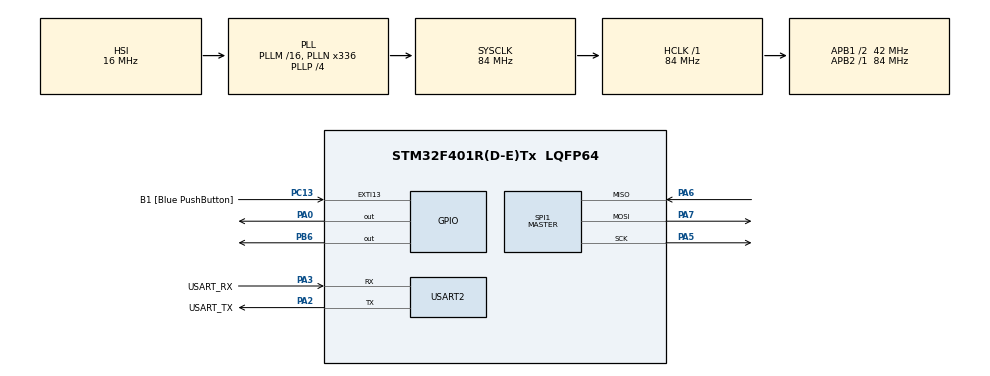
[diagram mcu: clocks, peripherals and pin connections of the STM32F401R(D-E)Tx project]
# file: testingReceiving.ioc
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Mcu.Family=STM32F4
Mcu.Name=STM32F401R(D-E)Tx
Mcu.Package=LQFP64
NVIC.PriorityGroup=NVIC_PRIORITYGROUP_4
PA0-WKUP.GPIO_PuPd=GPIO_PULLUP
PA0-WKUP.PinState=GPIO_PIN_SET
PA0-WKUP.Signal=GPIO_Output
PA13.GPIO_Label=TMS
PA13.Mode=Trace_Asynchronous_SW
PA13.Signal=SYS_JTMS-SWDIO
PA14.GPIO_Label=TCK
PA14.Mode=Trace_Asynchronous_SW
PA14.Signal=SYS_JTCK-SWCLK
PA2.GPIO_Label=USART_TX
PA2.GPIO_Mode=GPIO_MODE_AF_PP
PA2.GPIO_PuPd=GPIO_NOPULL
PA2.GPIO_Speed=GPIO_SPEED_FREQ_LOW
PA2.Mode=Asynchronous
PA2.Signal=USART2_TX
PA3.GPIO_Label=USART_RX
PA3.GPIO_Mode=GPIO_MODE_AF_PP
PA3.GPIO_PuPd=GPIO_NOPULL
PA3.GPIO_Speed=GPIO_SPEED_FREQ_LOW
PA3.Mode=Asynchronous
PA3.Signal=USART2_RX
PA5.Mode=Full_Duplex_Master
PA5.Signal=SPI1_SCK
PA6.Mode=Full_Duplex_Master
PA6.Signal=SPI1_MISO
PA7.Mode=Full_Duplex_Master
PA7.Signal=SPI1_MOSI
PB3.GPIO_Label=SWO
PB3.Mode=Trace_Asynchronous_SW
PB3.Signal=SYS_JTDO-SWO
PB6.Signal=GPIO_Output
PC13-ANTI_TAMP.GPIO_Label=B1 [Blue PushButton]
PC13-ANTI_TAMP.GPIO_ModeDefaultEXTI=GPIO_MODE_IT_FALLING
PC13-ANTI_TAMP.GPIO_PuPd=GPIO_NOPULL
PC13-ANTI_TAMP.Signal=GPXTI13
PC14-OSC32_IN.Mode=LSE-External-Oscillator
PC14-OSC32_IN.Signal=RCC_OSC32_IN
PC15-OSC32_OUT.Mode=LSE-External-Oscillator
PC15-OSC32_OUT.Signal=RCC_OSC32_OUT
PH0\ -\ OSC_IN.Mode=HSE-External-Clock-Source
PH0\ -\ OSC_IN.Signal=RCC_OSC_IN
PH1\ -\ OSC_OUT.Mode=HSE-External-Clock-Source
PH1\ -\ OSC_OUT.Signal=RCC_OSC_OUT
ProjectManager.HeapSize=0x200
ProjectManager.StackSize=0x400
ProjectManager.TargetToolchain=STM32CubeIDE
RCC.48MHZClocksFreq_Value=48000000
RCC.AHBFreq_Value=84000000
RCC.APB1CLKDivider=RCC_HCLK_DIV2
RCC.APB1Freq_Value=42000000
RCC.APB1TimFreq_Value=84000000
RCC.APB2Freq_Value=84000000
RCC.APB2TimFreq_Value=84000000
RCC.CortexFreq_Value=84000000
RCC.HCLKFreq_Value=84000000
RCC.HSE_VALUE=8000000
RCC.HSI_VALUE=16000000
RCC.PLLN=336
RCC.PLLP=RCC_PLLP_DIV4
RCC.PLLQ=7
RCC.SYSCLKFreq_VALUE=84000000
RCC.SYSCLKSource=RCC_SYSCLKSOURCE_PLLCLK
RCC.VCOOutputFreq_Value=336000000
SPI1.Direction=SPI_DIRECTION_2LINES
SPI1.Mode=SPI_MODE_MASTER
SPI1.VirtualType=VM_MASTER
USART2.VirtualMode=VM_ASYNC
board=NUCLEO-F401RE

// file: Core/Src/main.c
/* USER CODE BEGIN Header */
/**
  ******************************************************************************
  * @file           : main.c
  * @brief          : Main program body
  ******************************************************************************
  * @attention
  *
  * Copyright (c) 2026 STMicroelectronics.
  * All rights reserved.
  *
  * This software is licensed under terms that can be found in the LICENSE file
  * in the root directory of this software component.
  * If no LICENSE file comes with this software, it is provided AS-IS.
  *
  ******************************************************************************
  */
/* USER CODE END Header */
#include "main.h"

/* USER CODE BEGIN Includes */
#include "lora_sx1276.h"
#include <stdio.h>
#include <string.h>

/* USER CODE END Includes */

/* USER CODE BEGIN PD */
#define numBytes 58
/* USER CODE END PD */

SPI_HandleTypeDef hspi1;

UART_HandleTypeDef huart2;

/* USER CODE BEGIN PV */

// Receive buffer
uint8_t buffer[numBytes];

uint8_t buf_len = numBytes;

/* USER CODE END PV */

void SystemClock_Config(void);
static void MX_GPIO_Init(void);
static void MX_SPI1_Init(void);
static void MX_USART2_UART_Init(void);

/* USER CODE BEGIN 0 */
int __io_putchar(int ch)
{
    HAL_UART_Transmit(&huart2, (uint8_t*)&ch, 1, HAL_MAX_DELAY);
    return ch;
}

/* USER CODE END 0 */

int main(void)
{

  /* MCU Configuration--------------------------------------------------------*/

  /* Reset of all peripherals, Initializes the Flash interface and the Systick. */
  HAL_Init();

  /* Configure the system clock */
  SystemClock_Config();

  /* Initialize all configured peripherals */
  MX_GPIO_Init();
  MX_SPI1_Init();
  MX_USART2_UART_Init();
  /* USER CODE BEGIN 2 */
  lora_sx1276 lora;

  // reset chip
  HAL_GPIO_WritePin(GPIOA, GPIO_PIN_0, GPIO_PIN_RESET);
  HAL_Delay(.1);
  HAL_GPIO_WritePin(GPIOA, GPIO_PIN_0, GPIO_PIN_SET);
  HAL_Delay(5);

  // initialize lora chip
  uint8_t res = lora_init(&lora, &hspi1, GPIOB, GPIO_PIN_6, LORA_BASE_FREQUENCY_US);

  if (res != LORA_OK) {
//      printf("LoRa init failed\r\n");
	  lora_set_crc(&lora, 1);
  } else {
      uint8_t ver = lora_version(&lora);
//      printf("LoRa Version: 0x%02X (%u)\r\n", ver, ver);
  }
  // Put LoRa modem into continuous receive mode

  // states that the stm will be switching from
  typedef enum {
    STATE_WAIT_FOR_UART,
    STATE_HANDSHAKE_TX,
    STATE_NORMAL_OP
  } SystemState_t;

  // start at beginning
  SystemState_t current_state = STATE_NORMAL_OP;
  char start_cmd[6];

  /* USER CODE END 2 */

  /* Infinite loop */
  /* USER CODE BEGIN WHILE */
  while (1)
  {
	  switch (current_state) {

	  // this is before we want the stm to send the start command to the pi
	  case STATE_WAIT_FOR_UART:
		  // Non-blocking or short-timeout UART check
		  if (HAL_UART_Receive(&huart2, (uint8_t*)start_cmd, 5, 100) == HAL_OK) {
			  start_cmd[5] = '\0';
			  if (strcmp(start_cmd, "START") == 0) {
				  printf("UART Command Received. Initiating Handshake...\r\n");
				  current_state = STATE_HANDSHAKE_TX;
			  }
		  }
		  break;

	  // after it gets a command to start the pi, it does this
	  case STATE_HANDSHAKE_TX:
		  // send START to pi, and wait to receive
	      if (lora_send_packet_blocking(&lora, (uint8_t*)"START", 5, 2000) == LORA_OK) {
	          printf("Handshake sent! Waiting for ACK...\r\n");

	          lora_mode_standby(&lora);
	          HAL_Delay(10);
	          lora_clear_interrupt_rx_all(&lora);
	          lora_mode_receive_continuous(&lora);

	          uint8_t ack_buffer[10] = {0}; // Initialize with zeros to help with printing
	          uint8_t lora_res_code;
	          uint8_t ack_len = lora_receive_packet_blocking(&lora, ack_buffer, sizeof(ack_buffer), 5000, &lora_res_code);

	          // check that we receive something and didn't just time out
	          if (lora_res_code == LORA_OK && ack_len >= 3) {
	        	  // compare what we receive to the ACK
	              if (memcmp(ack_buffer, "ACK", 3) == 0) {
	                  printf("ACK received! Starting normal routine.\r\n");
	                  current_state = STATE_NORMAL_OP;
	              }
	              // if we receive something but it's wrong, print it out so we know what's wrong
	              else {
	                  printf("Received unknown packet: %.*s\r\n", ack_len, (char*)ack_buffer);
	                  printf("Unknown: ");
	                  for(int i=0; i<ack_len; i++) {
	                      printf("%02X ", ack_buffer[i]);
	                  }
	                  printf("\r\n");
	              }
	          } else {
	              printf("Handshake timeout or error code: %d\r\n", lora_res_code);
	              printf("Starting normal routine.\r\n");
	              // Optional: for debugging, proceed anyway
	              current_state = STATE_NORMAL_OP;
	          }
	      }
	      break;

	  // After receiving the ACK from the pi, get ready to receive data normally
	  case STATE_NORMAL_OP:
	  {
//		  // Send packet can be as simple as
//		  uint8_t res = lora_send_packet(&lora, (uint8_t *)"test", 4);
//		  if (res != LORA_OK) {
//		    // Send failed
//		  }

		  uint8_t res;
		  lora_mode_receive_continuous(&lora);

		  uint8_t len = lora_receive_packet_blocking(&lora, buffer, sizeof(buffer), 10000, &res);
		  buffer[56] = (uint8_t)lora_packet_rssi(&lora);
		  buffer[57] = lora_packet_snr(&lora);
		  uint8_t testbuf[numBytes];
		  memcpy(testbuf, buffer, 58);
		  // added for rylr
		  if (res == LORA_OK && len > 0) {
			  HAL_UART_Transmit(&huart2,
					  buffer,
					  numBytes,
					  100);
	        	  	  	  }
	  }
	  break;
  }

    /* USER CODE END WHILE */

  }
}

void SystemClock_Config(void)
{
  RCC_OscInitTypeDef RCC_OscInitStruct = {0};
  RCC_ClkInitTypeDef RCC_ClkInitStruct = {0};

  /** Configure the main internal regulator output voltage
  */
  __HAL_RCC_PWR_CLK_ENABLE();
  __HAL_PWR_VOLTAGESCALING_CONFIG(PWR_REGULATOR_VOLTAGE_SCALE2);

  /** Initializes the RCC Oscillators according to the specified parameters
  * in the RCC_OscInitTypeDef structure.
  */
  RCC_OscInitStruct.OscillatorType = RCC_OSCILLATORTYPE_HSI;
  RCC_OscInitStruct.HSIState = RCC_HSI_ON;
  RCC_OscInitStruct.HSICalibrationValue = RCC_HSICALIBRATION_DEFAULT;
  RCC_OscInitStruct.PLL.PLLState = RCC_PLL_ON;
  RCC_OscInitStruct.PLL.PLLSource = RCC_PLLSOURCE_HSI;
  RCC_OscInitStruct.PLL.PLLM = 16;
  RCC_OscInitStruct.PLL.PLLN = 336;
  RCC_OscInitStruct.PLL.PLLP = RCC_PLLP_DIV4;
  RCC_OscInitStruct.PLL.PLLQ = 7;
  if (HAL_RCC_OscConfig(&RCC_OscInitStruct) != HAL_OK)
  {
    Error_Handler();
  }

  /** Initializes the CPU, AHB and APB buses clocks
  */
  RCC_ClkInitStruct.ClockType = RCC_CLOCKTYPE_HCLK|RCC_CLOCKTYPE_SYSCLK
                              |RCC_CLOCKTYPE_PCLK1|RCC_CLOCKTYPE_PCLK2;
  RCC_ClkInitStruct.SYSCLKSource = RCC_SYSCLKSOURCE_PLLCLK;
  RCC_ClkInitStruct.AHBCLKDivider = RCC_SYSCLK_DIV1;
  RCC_ClkInitStruct.APB1CLKDivider = RCC_HCLK_DIV2;
  RCC_ClkInitStruct.APB2CLKDivider = RCC_HCLK_DIV1;

  if (HAL_RCC_ClockConfig(&RCC_ClkInitStruct, FLASH_LATENCY_2) != HAL_OK)
  {
    Error_Handler();
  }
}

static void MX_SPI1_Init(void)
{

  /* SPI1 parameter configuration*/
  hspi1.Instance = SPI1;
  hspi1.Init.Mode = SPI_MODE_MASTER;
  hspi1.Init.Direction = SPI_DIRECTION_2LINES;
  hspi1.Init.DataSize = SPI_DATASIZE_8BIT;
  hspi1.Init.CLKPolarity = SPI_POLARITY_LOW;
  hspi1.Init.CLKPhase = SPI_PHASE_1EDGE;
  hspi1.Init.NSS = SPI_NSS_SOFT;
  hspi1.Init.BaudRatePrescaler = SPI_BAUDRATEPRESCALER_16;
  hspi1.Init.FirstBit = SPI_FIRSTBIT_MSB;
  hspi1.Init.TIMode = SPI_TIMODE_DISABLE;
  hspi1.Init.CRCCalculation = SPI_CRCCALCULATION_DISABLE;
  hspi1.Init.CRCPolynomial = 10;
  if (HAL_SPI_Init(&hspi1) != HAL_OK)
  {
    Error_Handler();
  }

}

static void MX_USART2_UART_Init(void)
{

  huart2.Instance = USART2;
  huart2.Init.BaudRate = 115200;
  huart2.Init.WordLength = UART_WORDLENGTH_8B;
  huart2.Init.StopBits = UART_STOPBITS_1;
  huart2.Init.Parity = UART_PARITY_NONE;
  huart2.Init.Mode = UART_MODE_TX_RX;
  huart2.Init.HwFlowCtl = UART_HWCONTROL_NONE;
  huart2.Init.OverSampling = UART_OVERSAMPLING_16;
  if (HAL_UART_Init(&huart2) != HAL_OK)
  {
    Error_Handler();
  }

}

static void MX_GPIO_Init(void)
{
  GPIO_InitTypeDef GPIO_InitStruct = {0};

  /* GPIO Ports Clock Enable */
  __HAL_RCC_GPIOC_CLK_ENABLE();
  __HAL_RCC_GPIOH_CLK_ENABLE();
  __HAL_RCC_GPIOA_CLK_ENABLE();
  __HAL_RCC_GPIOB_CLK_ENABLE();

  /*Configure GPIO pin Output Level */
  HAL_GPIO_WritePin(GPIOA, GPIO_PIN_0, GPIO_PIN_SET);

  /*Configure GPIO pin Output Level */
  HAL_GPIO_WritePin(GPIOB, GPIO_PIN_6, GPIO_PIN_RESET);

  /*Configure GPIO pin : B1_Pin */
  GPIO_InitStruct.Pin = B1_Pin;
  GPIO_InitStruct.Mode = GPIO_MODE_IT_FALLING;
  GPIO_InitStruct.Pull = GPIO_NOPULL;
  HAL_GPIO_Init(B1_GPIO_Port, &GPIO_InitStruct);

  /*Configure GPIO pin : PA0 */
  GPIO_InitStruct.Pin = GPIO_PIN_0;
  GPIO_InitStruct.Mode = GPIO_MODE_OUTPUT_PP;
  GPIO_InitStruct.Pull = GPIO_PULLUP;
  GPIO_InitStruct.Speed = GPIO_SPEED_FREQ_LOW;
  HAL_GPIO_Init(GPIOA, &GPIO_InitStruct);

  /*Configure GPIO pin : PB6 */
  GPIO_InitStruct.Pin = GPIO_PIN_6;
  GPIO_InitStruct.Mode = GPIO_MODE_OUTPUT_PP;
  GPIO_InitStruct.Pull = GPIO_NOPULL;
  GPIO_InitStruct.Speed = GPIO_SPEED_FREQ_LOW;
  HAL_GPIO_Init(GPIOB, &GPIO_InitStruct);

}

void Error_Handler(void)
{
  __disable_irq();
  while (1)
  {
  }
}
